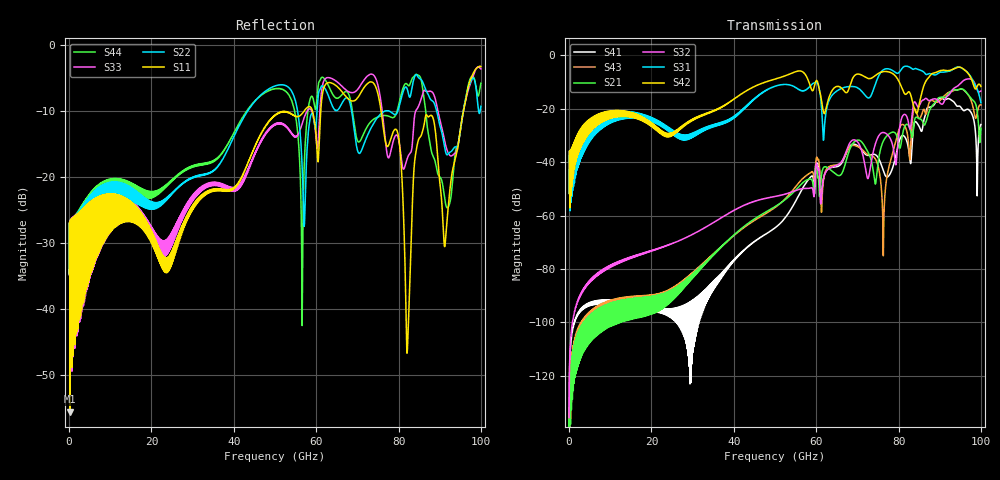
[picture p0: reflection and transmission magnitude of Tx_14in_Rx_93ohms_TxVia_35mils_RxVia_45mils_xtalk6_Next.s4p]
! Info: Touchstone file created by Circ.  Input file=Tx_14in_Rx_93ohms_TxVia_35mils_RxVia_45mils.circ
# Hz S RI R 50
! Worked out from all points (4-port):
!   10000 points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, 10 MHz to 100 GHz, reference 50 ohm
!   strongest paths, dB at 10 MHz, 25.01 GHz, 50.01 GHz, 75.01 GHz, 100 GHz:
!     S42: -51.7, -28.9, -8.9, -6.9, -11.7
!     S31: -51.7, -28.0, -11.6, -8.3, -17.8
!     S32: -135.7, -70.5, -52.9, -30.7, -13.4
!     S21: -145.2, -90.1, -56.7, -40.5, -27.3
!     S43: -143.6, -89.1, -57.0, -41.3, -18.6
!     S41: -135.7, -98.1, -64.6, -38.2, -25.9
!   lowest |S11| = -55.6 dB at 230 MHz (marker M1), VSWR 1.00, Z = 49.8 + j0.00588 ohm
!   |S11| at or under -10 dB: start of sweep to 57.05 GHz; 59.11 GHz to 61.11 GHz (2.001 GHz wide, 3.33 % of centre); 75.77 GHz to 95.75 GHz (19.98 GHz wide, 23.3 % of centre)
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1e7  0.0185 -0.00213  2.99e-08 4.64e-08  0.000559 0.00253  9.71e-08 1.33e-07
     2.99e-08 4.64e-08  0.0185 -0.00213  5.67e-08 1.54e-07  0.000554 0.00253
     0.000559 0.00253  5.67e-08 1.54e-07  0.0182 -0.00212  3.53e-08 5.55e-08
     9.71e-08 1.33e-07  0.000554 0.00253  3.53e-08 5.55e-08  0.0182 -0.00212
2.3e8  -0.00167 5.9e-05  1.88e-07 8.45e-07  0.00172 0.00486  6.23e-07 2.41e-06
       1.88e-07 8.45e-07  -0.00175 0.000198  3.41e-07 2.83e-06  0.00169 0.00491
       0.00172 0.00486  3.41e-07 2.83e-06  -0.00162 0.000187  2.22e-07 1.01e-06
       6.23e-07 2.41e-06  0.00169 0.00491  2.22e-07 1.01e-06  -0.00171 0.000349
7.341e10  -0.2996 -0.4338  -0.0056 -0.00881  -0.00471 0.1808  -0.0116 -0.00746
          -0.0056 -0.00881  -0.0459 0.234  -0.00661 0.00802  0.2988 -0.2222
          -0.00471 0.1808  -0.00661 0.00802  -0.3716 -0.4766  -0.012 -0.00556
          -0.0116 -0.00746  0.2988 -0.2222  -0.012 -0.00556  -0.0609 0.2588
7.635e10  -0.2318 0.014  0.0138 -0.021  0.4323 0.3183  0.00306 0.006
          0.0138 -0.021  0.3105 -0.0405  0.0329 -0.0144  -0.0413 -0.4938
          0.4323 0.3183  0.0329 -0.0144  -0.2444 0.0875  -0.000318 3.15e-05
          0.00306 0.006  -0.0413 -0.4938  -0.000318 3.15e-05  0.2932 0.0025
8.221e10  -0.00447 -0.00303  -0.0324 0.039  -0.1388 -0.6052  -0.0192 0.0102
          -0.0324 0.039  -0.1833 -0.4166  -0.0588 -0.0263  -0.0201 0.1999
          -0.1388 -0.6052  -0.0588 -0.0263  0.0369 -0.1361  -0.0318 -6.55e-05
          -0.0192 0.0102  -0.0201 0.1999  -0.0318 -6.55e-05  -0.1324 -0.4831
8.475e10  -0.0801 -0.1698  0.0189 0.064  -0.5436 0.0212  0.021 0.0457
          0.0189 0.064  -0.5422 -0.193  -0.0931 0.0531  -0.00815 -0.0952
          -0.5436 0.0212  -0.0931 0.0531  -0.2244 -0.255  -0.0221 0.0654
          0.021 0.0457  -0.00815 -0.0952  -0.0221 0.0654  -0.5784 -0.1327
1e11  -0.5626 0.3978  0.0379 -0.0204  0.0806 0.1012  -0.0373 -0.0339
      0.0379 -0.0204  -0.3431 0.0353  0.0626 0.2049  0.0181 0.2604
      0.0806 0.1012  0.0626 0.2049  -0.5614 0.3502  0.0667 -0.0962
      -0.0373 -0.0339  0.0181 0.2604  0.0667 -0.0962  -0.5103 0.0764
